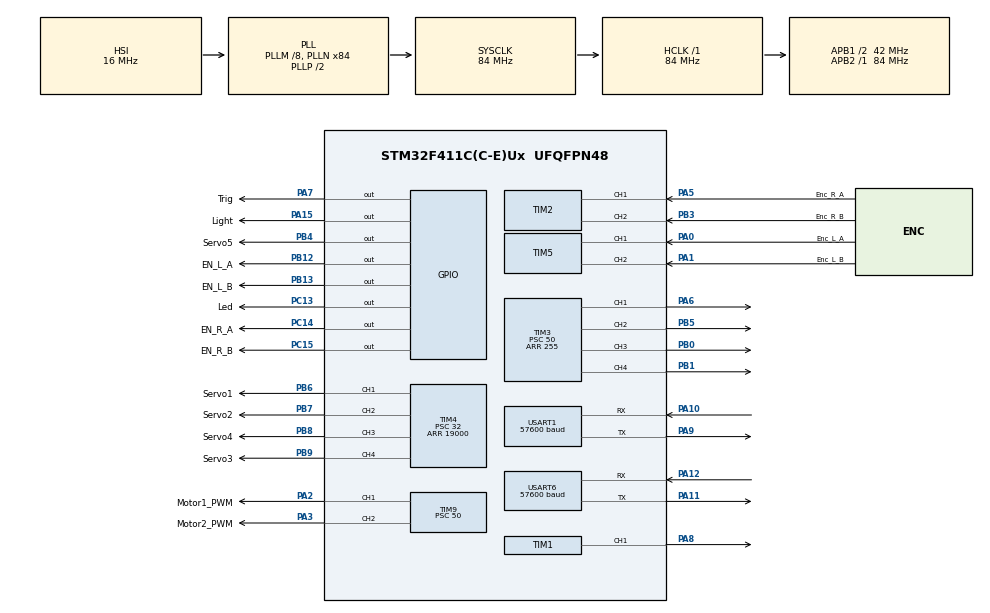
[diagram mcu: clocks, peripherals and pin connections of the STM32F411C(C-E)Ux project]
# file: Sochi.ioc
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Dma.Request0=USART1_RX
Dma.Request1=USART1_TX
Dma.Request2=USART6_TX
Dma.Request3=USART6_RX
Dma.USART1_RX.0.Direction=DMA_PERIPH_TO_MEMORY
Dma.USART1_RX.0.FIFOMode=DMA_FIFOMODE_DISABLE
Dma.USART1_RX.0.Instance=DMA2_Stream2
Dma.USART1_RX.0.MemDataAlignment=DMA_MDATAALIGN_BYTE
Dma.USART1_RX.0.MemInc=DMA_MINC_ENABLE
Dma.USART1_RX.0.Mode=DMA_NORMAL
Dma.USART1_RX.0.PeriphDataAlignment=DMA_PDATAALIGN_BYTE
Dma.USART1_RX.0.PeriphInc=DMA_PINC_DISABLE
Dma.USART1_RX.0.Priority=DMA_PRIORITY_LOW
Dma.USART1_TX.1.Direction=DMA_MEMORY_TO_PERIPH
Dma.USART1_TX.1.FIFOMode=DMA_FIFOMODE_DISABLE
Dma.USART1_TX.1.Instance=DMA2_Stream7
Dma.USART1_TX.1.MemDataAlignment=DMA_MDATAALIGN_BYTE
Dma.USART1_TX.1.MemInc=DMA_MINC_ENABLE
Dma.USART1_TX.1.Mode=DMA_NORMAL
Dma.USART1_TX.1.PeriphDataAlignment=DMA_PDATAALIGN_BYTE
Dma.USART1_TX.1.PeriphInc=DMA_PINC_DISABLE
Dma.USART1_TX.1.Priority=DMA_PRIORITY_LOW
Dma.USART6_RX.3.Direction=DMA_PERIPH_TO_MEMORY
Dma.USART6_RX.3.FIFOMode=DMA_FIFOMODE_DISABLE
Dma.USART6_RX.3.Instance=DMA2_Stream1
Dma.USART6_RX.3.MemDataAlignment=DMA_MDATAALIGN_BYTE
Dma.USART6_RX.3.MemInc=DMA_MINC_ENABLE
Dma.USART6_RX.3.Mode=DMA_NORMAL
Dma.USART6_RX.3.PeriphDataAlignment=DMA_PDATAALIGN_BYTE
Dma.USART6_RX.3.PeriphInc=DMA_PINC_DISABLE
Dma.USART6_RX.3.Priority=DMA_PRIORITY_LOW
Dma.USART6_TX.2.Direction=DMA_MEMORY_TO_PERIPH
Dma.USART6_TX.2.FIFOMode=DMA_FIFOMODE_DISABLE
Dma.USART6_TX.2.Instance=DMA2_Stream6
Dma.USART6_TX.2.MemDataAlignment=DMA_MDATAALIGN_BYTE
Dma.USART6_TX.2.MemInc=DMA_MINC_ENABLE
Dma.USART6_TX.2.Mode=DMA_NORMAL
Dma.USART6_TX.2.PeriphDataAlignment=DMA_PDATAALIGN_BYTE
Dma.USART6_TX.2.PeriphInc=DMA_PINC_DISABLE
Dma.USART6_TX.2.Priority=DMA_PRIORITY_LOW
Mcu.Family=STM32F4
Mcu.Name=STM32F411C(C-E)Ux
Mcu.Package=UFQFPN48
NVIC.DMA2_Stream1_IRQn=true\:0\:0\:false\:false\:true\:false\:true\:true
NVIC.DMA2_Stream2_IRQn=true\:0\:0\:false\:false\:true\:false\:true\:true
NVIC.DMA2_Stream6_IRQn=true\:0\:0\:false\:false\:true\:false\:true\:true
NVIC.DMA2_Stream7_IRQn=true\:0\:0\:false\:false\:true\:false\:true\:true
NVIC.PriorityGroup=NVIC_PRIORITYGROUP_4
NVIC.TIM1_TRG_COM_TIM11_IRQn=true\:0\:0\:false\:false\:true\:true\:true\:true
NVIC.TIM1_UP_TIM10_IRQn=true\:0\:0\:false\:false\:true\:true\:true\:true
NVIC.TIM2_IRQn=true\:0\:0\:false\:true\:true\:1\:true\:true\:true
NVIC.TIM5_IRQn=true\:0\:0\:false\:false\:true\:true\:true\:true
NVIC.USART1_IRQn=true\:0\:0\:false\:false\:true\:true\:true\:true
NVIC.USART6_IRQn=true\:0\:0\:false\:false\:true\:true\:true\:true
PA0-WKUP.GPIO_Label=Enc_L_A
PA0-WKUP.Signal=S_TIM5_CH1
PA1.GPIO_Label=Enc_L_B
PA1.Signal=S_TIM5_CH2
PA10.Mode=Asynchronous
PA10.Signal=USART1_RX
PA11.Mode=Asynchronous
PA11.Signal=USART6_TX
PA12.Mode=Asynchronous
PA12.Signal=USART6_RX
PA13.Mode=Serial_Wire
PA13.Signal=SYS_JTMS-SWDIO
PA14.Mode=Serial_Wire
PA14.Signal=SYS_JTCK-SWCLK
PA15.GPIO_Label=Light
PA15.Signal=GPIO_Output
PA2.GPIO_Label=Motor1_PWM
PA2.Signal=S_TIM9_CH1
PA3.GPIO_Label=Motor2_PWM
PA3.Signal=S_TIM9_CH2
PA5.GPIO_Label=Enc_R_A
PA5.GPIO_PuPd=GPIO_PULLUP
PA5.GPIO_Speed=GPIO_SPEED_FREQ_VERY_HIGH
PA5.Signal=S_TIM2_CH1_ETR
PA6.Signal=S_TIM3_CH1
PA7.GPIO_Label=Trig
PA7.Signal=GPIO_Output
PA8.Signal=S_TIM1_CH1
PA9.Mode=Asynchronous
PA9.Signal=USART1_TX
PB0.Signal=S_TIM3_CH3
PB1.Signal=S_TIM3_CH4
PB12.GPIO_Label=EN_L_A
PB12.Signal=GPIO_Output
PB13.GPIO_Label=EN_L_B
PB13.Signal=GPIO_Output
PB3.GPIO_Label=Enc_R_B
PB3.GPIO_PuPd=GPIO_PULLUP
PB3.GPIO_Speed=GPIO_SPEED_FREQ_VERY_HIGH
PB3.Signal=S_TIM2_CH2
PB4.GPIO_Label=Servo5
PB4.Signal=GPIO_Output
PB5.Signal=S_TIM3_CH2
PB6.GPIO_Label=Servo1
PB6.GPIO_ModeDefaultPP=GPIO_MODE_AF_OD
PB6.GPIO_PuPd=GPIO_NOPULL
PB6.GPIO_Speed=GPIO_SPEED_FREQ_VERY_HIGH
PB6.Signal=S_TIM4_CH1
PB7.GPIO_Label=Servo2
PB7.GPIO_ModeDefaultPP=GPIO_MODE_AF_OD
PB7.GPIO_PuPd=GPIO_NOPULL
PB7.GPIO_Speed=GPIO_SPEED_FREQ_VERY_HIGH
PB7.Signal=S_TIM4_CH2
PB8.GPIO_Label=Servo4
PB8.GPIO_ModeDefaultPP=GPIO_MODE_AF_OD
PB8.GPIO_PuPd=GPIO_NOPULL
PB8.GPIO_Speed=GPIO_SPEED_FREQ_VERY_HIGH
PB8.Signal=S_TIM4_CH3
PB9.GPIO_Label=Servo3
PB9.GPIO_ModeDefaultPP=GPIO_MODE_AF_OD
PB9.GPIO_PuPd=GPIO_NOPULL
PB9.GPIO_Speed=GPIO_SPEED_FREQ_VERY_HIGH
PB9.Signal=S_TIM4_CH4
PC13-ANTI_TAMP.GPIO_Label=Led
PC13-ANTI_TAMP.Signal=GPIO_Output
PC14-OSC32_IN.GPIO_Label=EN_R_A
PC14-OSC32_IN.Signal=GPIO_Output
PC15-OSC32_OUT.GPIO_Label=EN_R_B
PC15-OSC32_OUT.Signal=GPIO_Output
ProjectManager.HeapSize=0x200
ProjectManager.StackSize=0x400
ProjectManager.TargetToolchain=MDK-ARM V5.32
RCC.48MHZClocksFreq_Value=42000000
RCC.AHBFreq_Value=84000000
RCC.APB1CLKDivider=RCC_HCLK_DIV2
RCC.APB1Freq_Value=42000000
RCC.APB1TimFreq_Value=84000000
RCC.APB2Freq_Value=84000000
RCC.APB2TimFreq_Value=84000000
RCC.CortexFreq_Value=84000000
RCC.HCLKFreq_Value=84000000
RCC.HSE_VALUE=25000000
RCC.HSI_VALUE=16000000
RCC.LSE_VALUE=32768
RCC.PLLM=8
RCC.PLLN=84
RCC.SYSCLKFreq_VALUE=84000000
RCC.SYSCLKSource=RCC_SYSCLKSOURCE_PLLCLK
RCC.VCOOutputFreq_Value=168000000
SH.S_TIM1_CH1.0=TIM1_CH1,PWM Generation1 CH1
SH.S_TIM2_CH1_ETR.0=TIM2_CH1,Encoder_Interface
SH.S_TIM2_CH2.0=TIM2_CH2,Encoder_Interface
SH.S_TIM3_CH1.0=TIM3_CH1,PWM Generation1 CH1
SH.S_TIM3_CH2.0=TIM3_CH2,PWM Generation2 CH2
SH.S_TIM3_CH3.0=TIM3_CH3,PWM Generation3 CH3
SH.S_TIM3_CH4.0=TIM3_CH4,PWM Generation4 CH4
SH.S_TIM4_CH1.0=TIM4_CH1,PWM Generation1 CH1
SH.S_TIM4_CH2.0=TIM4_CH2,PWM Generation2 CH2
SH.S_TIM4_CH3.0=TIM4_CH3,PWM Generation3 CH3
SH.S_TIM4_CH4.0=TIM4_CH4,PWM Generation4 CH4
SH.S_TIM5_CH1.0=TIM5_CH1,Encoder_Interface
SH.S_TIM5_CH2.0=TIM5_CH2,Encoder_Interface
SH.S_TIM9_CH1.0=TIM9_CH1,PWM Generation1 CH1
SH.S_TIM9_CH2.0=TIM9_CH2,PWM Generation2 CH2
TIM1.Channel-PWM\ Generation1\ CH1=TIM_CHANNEL_1
TIM1.Period=639
TIM1.Prescaler=2
TIM10.Channel=TIM_CHANNEL_1
TIM10.Period=20000
TIM10.Prescaler=320
TIM11.Channel=TIM_CHANNEL_1
TIM11.Period=19000
TIM11.Prescaler=32
TIM2.EncoderMode=TIM_ENCODERMODE_TI2
TIM2.IC1Filter=0
TIM2.IC2Filter=0
TIM3.Channel-PWM\ Generation1\ CH1=TIM_CHANNEL_1
TIM3.Channel-PWM\ Generation2\ CH2=TIM_CHANNEL_2
TIM3.Channel-PWM\ Generation3\ CH3=TIM_CHANNEL_3
TIM3.Channel-PWM\ Generation4\ CH4=TIM_CHANNEL_4
TIM3.Period=255
TIM3.Prescaler=50
TIM4.Channel-PWM\ Generation1\ CH1=TIM_CHANNEL_1
TIM4.Channel-PWM\ Generation2\ CH2=TIM_CHANNEL_2
TIM4.Channel-PWM\ Generation3\ CH3=TIM_CHANNEL_3
TIM4.Channel-PWM\ Generation4\ CH4=TIM_CHANNEL_4
TIM4.Period=19000
TIM4.Prescaler=32
TIM5.EncoderMode=TIM_ENCODERMODE_TI2
TIM9.Channel-PWM\ Generation1\ CH1=TIM_CHANNEL_1
TIM9.Channel-PWM\ Generation2\ CH2=TIM_CHANNEL_2
TIM9.Period=1000
TIM9.Prescaler=50
USART1.BaudRate=57600
USART1.VirtualMode=VM_ASYNC
USART6.BaudRate=57600
USART6.VirtualMode=VM_ASYNC
VP_TIM10_VS_ClockSourceINT.Mode=Enable_Timer
VP_TIM10_VS_no_output1.Mode=Output Compare1 No Output
VP_TIM11_VS_ClockSourceINT.Mode=Enable_Timer
VP_TIM11_VS_no_output1.Mode=Output Compare1 No Output
board=custom

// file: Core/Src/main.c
/* USER CODE BEGIN Header */
/**
  ******************************************************************************
  * @file           : main.c
  * @brief          : Main program body
  ******************************************************************************
  * @attention
  *
  * Copyright (c) 2023 STMicroelectronics.
  * All rights reserved.
  *
  * This software is licensed under terms that can be found in the LICENSE file
  * in the root directory of this software component.
  * If no LICENSE file comes with this software, it is provided AS-IS.
  *
  ******************************************************************************
  */
/* USER CODE END Header */
#include "main.h"

/* USER CODE BEGIN Includes */
#include "Func.h"
#include "Defines.h"
#include "Encoder.h"

#ifdef PidVel
	#include "PidVel.h"
#endif

#ifdef PidPos
	#include "PidPos.h"
#endif
/* USER CODE END Includes */

TIM_HandleTypeDef htim1;
TIM_HandleTypeDef htim2;
TIM_HandleTypeDef htim3;
TIM_HandleTypeDef htim4;
TIM_HandleTypeDef htim5;
TIM_HandleTypeDef htim9;
TIM_HandleTypeDef htim10;
TIM_HandleTypeDef htim11;

UART_HandleTypeDef huart1;
UART_HandleTypeDef huart6;
DMA_HandleTypeDef hdma_usart1_rx;
DMA_HandleTypeDef hdma_usart1_tx;
DMA_HandleTypeDef hdma_usart6_tx;
DMA_HandleTypeDef hdma_usart6_rx;

/* USER CODE BEGIN PV */

uint8_t RxBuf [32];
uint8_t TxBuf[700];
uint8_t flag;
uint8_t CountIn;
int32_t CountR;
int32_t CountL;

float DistLeftM;
float DistRightM;

float SpeedLeftMS;
float SpeedRightMS;

float TargetSpeedLeftMS;
float TargetSpeedRightMS;

float TargetSpeedMS;//speed of centre of mass
float TargetAngSpeedRad;//angular speed

uint32_t Time1;
uint32_t Time2;

int32_t SpeedTickR;
int32_t SpeedTickL;

float length1;
float length2;
uint16_t SmaBufT1[SmaN];
uint16_t SmaBufT2[SmaN];
uint8_t CountPosL1;
uint8_t CountPosL2;

/* PID Velocity Parameters */
float Kp;
float Kd;
float Ki;
float Ko;
#ifdef PidVelArduino
uint8_t moving;

SetPointInfo leftPID, rightPID;
#endif
uint8_t CountSpace;

uint16_t ServoDeg[5];

uint32_t Servo5AngleRaw;

#ifdef SettingMan
	uint32_t CountTest;
#endif

/* USER CODE END PV */

void SystemClock_Config(void);
static void MX_GPIO_Init(void);
static void MX_DMA_Init(void);
static void MX_TIM2_Init(void);
static void MX_TIM4_Init(void);
static void MX_TIM5_Init(void);
static void MX_TIM9_Init(void);
static void MX_USART1_UART_Init(void);
static void MX_TIM3_Init(void);
static void MX_TIM10_Init(void);
static void MX_TIM11_Init(void);
static void MX_USART6_UART_Init(void);
static void MX_TIM1_Init(void);
static void MX_NVIC_Init(void);

int main(void)
{

  /* MCU Configuration--------------------------------------------------------*/

  /* Reset of all peripherals, Initializes the Flash interface and the Systick. */
  HAL_Init();

  /* Configure the system clock */
  SystemClock_Config();

  /* Initialize all configured peripherals */
  MX_GPIO_Init();
  MX_DMA_Init();
  MX_TIM2_Init();
  MX_TIM4_Init();
  MX_TIM5_Init();
  MX_TIM9_Init();
  MX_USART1_UART_Init();
  MX_TIM3_Init();
  MX_TIM10_Init();
  MX_TIM11_Init();
  MX_USART6_UART_Init();
  MX_TIM1_Init();

  /* Initialize interrupts */
  MX_NVIC_Init();
  /* USER CODE BEGIN 2 */
	//Start motor1
	StartState();

	#ifdef present
	uint32_t Color;
	#endif
  /* USER CODE END 2 */

  /* Infinite loop */
  /* USER CODE BEGIN WHILE */
  while (1)
  {
		if((flag&(1<<RecieveOk))!=0)
		{
			Update();
			//UpdateMx();
			flag&=~(1<<RecieveOk);
		}
		if ((flag&(1<<TimeOk))!=0)
		{
			//ServoWrite3((uint16_t)length2);
/*			uint16_t S=OutPlot(length1, length2, CountR, TxBuf);
			HAL_UART_Transmit(&h  uart1,TxBuf,S,1000);
			flag&=~(1<<TimeOk);*/
		}
		if((flag&(1<<StartCulcSpeed))!=0)
		{
			SpeedCulcTick();
		/*	uint16_t S=OutPlot(SpeedLeftMS, SpeedRightMS, TxBuf);
			HAL_UART_Transmit_DMA(&huart6,TxBuf,S);*/
			flag&=~(1<<StartCulcSpeed);
		}

#ifdef PidVel
		if((flag&(1<<StartPidUpdate)))
		{
			setMotorSpeeds(UpdatePIDRight(TargetSpeedRightMS, SpeedRightMS),UpdatePIDLeft(TargetSpeedLeftMS, SpeedLeftMS));
			flag&=~(1<<StartPidUpdate);
		}
#endif

	#ifdef present
		if((flag&(1<<SwitchesColor))!=0)
		{
			/*Color=Color<<8;
			ColorOut(Color);
			if(Color==0)
			{
				Color=0xFF;
			}
			flag&=~(1<<SwitchesColor);*/
		}

	#endif
		if((flag&(1<<FinishMovServo5)))
		{
			TargetSpeedRightMS=0;
			TargetSpeedLeftMS=0;
			flag&=~(1<<FinishMovServo5);
		}

    /* USER CODE END WHILE */

  }
}

void SystemClock_Config(void)
{
  RCC_OscInitTypeDef RCC_OscInitStruct = {0};
  RCC_ClkInitTypeDef RCC_ClkInitStruct = {0};

  /** Configure the main internal regulator output voltage
  */
  __HAL_RCC_PWR_CLK_ENABLE();
  __HAL_PWR_VOLTAGESCALING_CONFIG(PWR_REGULATOR_VOLTAGE_SCALE1);

  /** Initializes the RCC Oscillators according to the specified parameters
  * in the RCC_OscInitTypeDef structure.
  */
  RCC_OscInitStruct.OscillatorType = RCC_OSCILLATORTYPE_HSI;
  RCC_OscInitStruct.HSIState = RCC_HSI_ON;
  RCC_OscInitStruct.HSICalibrationValue = RCC_HSICALIBRATION_DEFAULT;
  RCC_OscInitStruct.PLL.PLLState = RCC_PLL_ON;
  RCC_OscInitStruct.PLL.PLLSource = RCC_PLLSOURCE_HSI;
  RCC_OscInitStruct.PLL.PLLM = 8;
  RCC_OscInitStruct.PLL.PLLN = 84;
  RCC_OscInitStruct.PLL.PLLP = RCC_PLLP_DIV2;
  RCC_OscInitStruct.PLL.PLLQ = 4;
  if (HAL_RCC_OscConfig(&RCC_OscInitStruct) != HAL_OK)
  {
    Error_Handler();
  }

  /** Initializes the CPU, AHB and APB buses clocks
  */
  RCC_ClkInitStruct.ClockType = RCC_CLOCKTYPE_HCLK|RCC_CLOCKTYPE_SYSCLK
                              |RCC_CLOCKTYPE_PCLK1|RCC_CLOCKTYPE_PCLK2;
  RCC_ClkInitStruct.SYSCLKSource = RCC_SYSCLKSOURCE_PLLCLK;
  RCC_ClkInitStruct.AHBCLKDivider = RCC_SYSCLK_DIV1;
  RCC_ClkInitStruct.APB1CLKDivider = RCC_HCLK_DIV2;
  RCC_ClkInitStruct.APB2CLKDivider = RCC_HCLK_DIV1;

  if (HAL_RCC_ClockConfig(&RCC_ClkInitStruct, FLASH_LATENCY_2) != HAL_OK)
  {
    Error_Handler();
  }
}

/**
  * @brief NVIC Configuration.
  * @retval None
  */
static void MX_NVIC_Init(void)
{
  /* TIM2_IRQn interrupt configuration */
  HAL_NVIC_SetPriority(TIM2_IRQn, 0, 0);
  HAL_NVIC_EnableIRQ(TIM2_IRQn);
}

static void MX_TIM1_Init(void)
{

  TIM_MasterConfigTypeDef sMasterConfig = {0};
  TIM_OC_InitTypeDef sConfigOC = {0};
  TIM_BreakDeadTimeConfigTypeDef sBreakDeadTimeConfig = {0};

  htim1.Instance = TIM1;
  htim1.Init.Prescaler = 2;
  htim1.Init.CounterMode = TIM_COUNTERMODE_UP;
  htim1.Init.Period = 639;
  htim1.Init.ClockDivision = TIM_CLOCKDIVISION_DIV1;
  htim1.Init.RepetitionCounter = 0;
  htim1.Init.AutoReloadPreload = TIM_AUTORELOAD_PRELOAD_DISABLE;
  if (HAL_TIM_PWM_Init(&htim1) != HAL_OK)
  {
    Error_Handler();
  }
  sMasterConfig.MasterOutputTrigger = TIM_TRGO_RESET;
  sMasterConfig.MasterSlaveMode = TIM_MASTERSLAVEMODE_DISABLE;
  if (HAL_TIMEx_MasterConfigSynchronization(&htim1, &sMasterConfig) != HAL_OK)
  {
    Error_Handler();
  }
  sConfigOC.OCMode = TIM_OCMODE_PWM1;
  sConfigOC.Pulse = 0;
  sConfigOC.OCPolarity = TIM_OCPOLARITY_HIGH;
  sConfigOC.OCNPolarity = TIM_OCNPOLARITY_HIGH;
  sConfigOC.OCFastMode = TIM_OCFAST_DISABLE;
  sConfigOC.OCIdleState = TIM_OCIDLESTATE_RESET;
  sConfigOC.OCNIdleState = TIM_OCNIDLESTATE_RESET;
  if (HAL_TIM_PWM_ConfigChannel(&htim1, &sConfigOC, TIM_CHANNEL_1) != HAL_OK)
  {
    Error_Handler();
  }
  sBreakDeadTimeConfig.OffStateRunMode = TIM_OSSR_DISABLE;
  sBreakDeadTimeConfig.OffStateIDLEMode = TIM_OSSI_DISABLE;
  sBreakDeadTimeConfig.LockLevel = TIM_LOCKLEVEL_OFF;
  sBreakDeadTimeConfig.DeadTime = 0;
  sBreakDeadTimeConfig.BreakState = TIM_BREAK_DISABLE;
  sBreakDeadTimeConfig.BreakPolarity = TIM_BREAKPOLARITY_HIGH;
  sBreakDeadTimeConfig.AutomaticOutput = TIM_AUTOMATICOUTPUT_DISABLE;
  if (HAL_TIMEx_ConfigBreakDeadTime(&htim1, &sBreakDeadTimeConfig) != HAL_OK)
  {
    Error_Handler();
  }
  HAL_TIM_MspPostInit(&htim1);

}

static void MX_TIM2_Init(void)
{

  TIM_Encoder_InitTypeDef sConfig = {0};
  TIM_MasterConfigTypeDef sMasterConfig = {0};

  htim2.Instance = TIM2;
  htim2.Init.Prescaler = 0;
  htim2.Init.CounterMode = TIM_COUNTERMODE_UP;
  htim2.Init.Period = 4294967295;
  htim2.Init.ClockDivision = TIM_CLOCKDIVISION_DIV1;
  htim2.Init.AutoReloadPreload = TIM_AUTORELOAD_PRELOAD_DISABLE;
  sConfig.EncoderMode = TIM_ENCODERMODE_TI2;
  sConfig.IC1Polarity = TIM_ICPOLARITY_RISING;
  sConfig.IC1Selection = TIM_ICSELECTION_DIRECTTI;
  sConfig.IC1Prescaler = TIM_ICPSC_DIV1;
  sConfig.IC1Filter = 0;
  sConfig.IC2Polarity = TIM_ICPOLARITY_RISING;
  sConfig.IC2Selection = TIM_ICSELECTION_DIRECTTI;
  sConfig.IC2Prescaler = TIM_ICPSC_DIV1;
  sConfig.IC2Filter = 0;
  if (HAL_TIM_Encoder_Init(&htim2, &sConfig) != HAL_OK)
  {
    Error_Handler();
  }
  sMasterConfig.MasterOutputTrigger = TIM_TRGO_RESET;
  sMasterConfig.MasterSlaveMode = TIM_MASTERSLAVEMODE_DISABLE;
  if (HAL_TIMEx_MasterConfigSynchronization(&htim2, &sMasterConfig) != HAL_OK)
  {
    Error_Handler();
  }
  /* USER CODE BEGIN TIM2_Init 2 */
	TIM2->DIER|=1<<TIM_DIER_CC1IE;
  /* USER CODE END TIM2_Init 2 */

}

static void MX_TIM3_Init(void)
{

  TIM_MasterConfigTypeDef sMasterConfig = {0};
  TIM_OC_InitTypeDef sConfigOC = {0};

  htim3.Instance = TIM3;
  htim3.Init.Prescaler = 50;
  htim3.Init.CounterMode = TIM_COUNTERMODE_UP;
  htim3.Init.Period = 255;
  htim3.Init.ClockDivision = TIM_CLOCKDIVISION_DIV1;
  htim3.Init.AutoReloadPreload = TIM_AUTORELOAD_PRELOAD_DISABLE;
  if (HAL_TIM_PWM_Init(&htim3) != HAL_OK)
  {
    Error_Handler();
  }
  sMasterConfig.MasterOutputTrigger = TIM_TRGO_RESET;
  sMasterConfig.MasterSlaveMode = TIM_MASTERSLAVEMODE_DISABLE;
  if (HAL_TIMEx_MasterConfigSynchronization(&htim3, &sMasterConfig) != HAL_OK)
  {
    Error_Handler();
  }
  sConfigOC.OCMode = TIM_OCMODE_PWM1;
  sConfigOC.Pulse = 0;
  sConfigOC.OCPolarity = TIM_OCPOLARITY_HIGH;
  sConfigOC.OCFastMode = TIM_OCFAST_DISABLE;
  if (HAL_TIM_PWM_ConfigChannel(&htim3, &sConfigOC, TIM_CHANNEL_1) != HAL_OK)
  {
    Error_Handler();
  }
  if (HAL_TIM_PWM_ConfigChannel(&htim3, &sConfigOC, TIM_CHANNEL_2) != HAL_OK)
  {
    Error_Handler();
  }
  if (HAL_TIM_PWM_ConfigChannel(&htim3, &sConfigOC, TIM_CHANNEL_3) != HAL_OK)
  {
    Error_Handler();
  }
  if (HAL_TIM_PWM_ConfigChannel(&htim3, &sConfigOC, TIM_CHANNEL_4) != HAL_OK)
  {
    Error_Handler();
  }
  HAL_TIM_MspPostInit(&htim3);

}

static void MX_TIM4_Init(void)
{

  TIM_MasterConfigTypeDef sMasterConfig = {0};
  TIM_OC_InitTypeDef sConfigOC = {0};

  htim4.Instance = TIM4;
  htim4.Init.Prescaler = 32;
  htim4.Init.CounterMode = TIM_COUNTERMODE_UP;
  htim4.Init.Period = 19000;
  htim4.Init.ClockDivision = TIM_CLOCKDIVISION_DIV1;
  htim4.Init.AutoReloadPreload = TIM_AUTORELOAD_PRELOAD_DISABLE;
  if (HAL_TIM_PWM_Init(&htim4) != HAL_OK)
  {
    Error_Handler();
  }
  sMasterConfig.MasterOutputTrigger = TIM_TRGO_RESET;
  sMasterConfig.MasterSlaveMode = TIM_MASTERSLAVEMODE_DISABLE;
  if (HAL_TIMEx_MasterConfigSynchronization(&htim4, &sMasterConfig) != HAL_OK)
  {
    Error_Handler();
  }
  sConfigOC.OCMode = TIM_OCMODE_PWM1;
  sConfigOC.Pulse = 0;
  sConfigOC.OCPolarity = TIM_OCPOLARITY_HIGH;
  sConfigOC.OCFastMode = TIM_OCFAST_DISABLE;
  if (HAL_TIM_PWM_ConfigChannel(&htim4, &sConfigOC, TIM_CHANNEL_1) != HAL_OK)
  {
    Error_Handler();
  }
  if (HAL_TIM_PWM_ConfigChannel(&htim4, &sConfigOC, TIM_CHANNEL_2) != HAL_OK)
  {
    Error_Handler();
  }
  if (HAL_TIM_PWM_ConfigChannel(&htim4, &sConfigOC, TIM_CHANNEL_3) != HAL_OK)
  {
    Error_Handler();
  }
  if (HAL_TIM_PWM_ConfigChannel(&htim4, &sConfigOC, TIM_CHANNEL_4) != HAL_OK)
  {
    Error_Handler();
  }
  HAL_TIM_MspPostInit(&htim4);

}

static void MX_TIM5_Init(void)
{

  TIM_Encoder_InitTypeDef sConfig = {0};
  TIM_MasterConfigTypeDef sMasterConfig = {0};

  htim5.Instance = TIM5;
  htim5.Init.Prescaler = 0;
  htim5.Init.CounterMode = TIM_COUNTERMODE_UP;
  htim5.Init.Period = 4294967295;
  htim5.Init.ClockDivision = TIM_CLOCKDIVISION_DIV1;
  htim5.Init.AutoReloadPreload = TIM_AUTORELOAD_PRELOAD_DISABLE;
  sConfig.EncoderMode = TIM_ENCODERMODE_TI2;
  sConfig.IC1Polarity = TIM_ICPOLARITY_RISING;
  sConfig.IC1Selection = TIM_ICSELECTION_DIRECTTI;
  sConfig.IC1Prescaler = TIM_ICPSC_DIV1;
  sConfig.IC1Filter = 0;
  sConfig.IC2Polarity = TIM_ICPOLARITY_RISING;
  sConfig.IC2Selection = TIM_ICSELECTION_DIRECTTI;
  sConfig.IC2Prescaler = TIM_ICPSC_DIV1;
  sConfig.IC2Filter = 0;
  if (HAL_TIM_Encoder_Init(&htim5, &sConfig) != HAL_OK)
  {
    Error_Handler();
  }
  sMasterConfig.MasterOutputTrigger = TIM_TRGO_RESET;
  sMasterConfig.MasterSlaveMode = TIM_MASTERSLAVEMODE_DISABLE;
  if (HAL_TIMEx_MasterConfigSynchronization(&htim5, &sMasterConfig) != HAL_OK)
  {
    Error_Handler();
  }

}

static void MX_TIM9_Init(void)
{

  TIM_OC_InitTypeDef sConfigOC = {0};

  htim9.Instance = TIM9;
  htim9.Init.Prescaler = 50;
  htim9.Init.CounterMode = TIM_COUNTERMODE_UP;
  htim9.Init.Period = 1000;
  htim9.Init.ClockDivision = TIM_CLOCKDIVISION_DIV1;
  htim9.Init.AutoReloadPreload = TIM_AUTORELOAD_PRELOAD_DISABLE;
  if (HAL_TIM_PWM_Init(&htim9) != HAL_OK)
  {
    Error_Handler();
  }
  sConfigOC.OCMode = TIM_OCMODE_PWM1;
  sConfigOC.Pulse = 0;
  sConfigOC.OCPolarity = TIM_OCPOLARITY_HIGH;
  sConfigOC.OCFastMode = TIM_OCFAST_DISABLE;
  if (HAL_TIM_PWM_ConfigChannel(&htim9, &sConfigOC, TIM_CHANNEL_1) != HAL_OK)
  {
    Error_Handler();
  }
  if (HAL_TIM_PWM_ConfigChannel(&htim9, &sConfigOC, TIM_CHANNEL_2) != HAL_OK)
  {
    Error_Handler();
  }
  HAL_TIM_MspPostInit(&htim9);

}

static void MX_TIM10_Init(void)
{

  TIM_OC_InitTypeDef sConfigOC = {0};

  htim10.Instance = TIM10;
  htim10.Init.Prescaler = 320;
  htim10.Init.CounterMode = TIM_COUNTERMODE_UP;
  htim10.Init.Period = 20000;
  htim10.Init.ClockDivision = TIM_CLOCKDIVISION_DIV1;
  htim10.Init.AutoReloadPreload = TIM_AUTORELOAD_PRELOAD_DISABLE;
  if (HAL_TIM_Base_Init(&htim10) != HAL_OK)
  {
    Error_Handler();
  }
  if (HAL_TIM_OC_Init(&htim10) != HAL_OK)
  {
    Error_Handler();
  }
  sConfigOC.OCMode = TIM_OCMODE_TIMING;
  sConfigOC.Pulse = 0;
  sConfigOC.OCPolarity = TIM_OCPOLARITY_HIGH;
  sConfigOC.OCFastMode = TIM_OCFAST_DISABLE;
  if (HAL_TIM_OC_ConfigChannel(&htim10, &sConfigOC, TIM_CHANNEL_1) != HAL_OK)
  {
    Error_Handler();
  }

}

static void MX_TIM11_Init(void)
{

  TIM_OC_InitTypeDef sConfigOC = {0};

  htim11.Instance = TIM11;
  htim11.Init.Prescaler = 32;
  htim11.Init.CounterMode = TIM_COUNTERMODE_UP;
  htim11.Init.Period = 19000;
  htim11.Init.ClockDivision = TIM_CLOCKDIVISION_DIV1;
  htim11.Init.AutoReloadPreload = TIM_AUTORELOAD_PRELOAD_DISABLE;
  if (HAL_TIM_Base_Init(&htim11) != HAL_OK)
  {
    Error_Handler();
  }
  if (HAL_TIM_OC_Init(&htim11) != HAL_OK)
  {
    Error_Handler();
  }
  sConfigOC.OCMode = TIM_OCMODE_TIMING;
  sConfigOC.Pulse = 0;
  sConfigOC.OCPolarity = TIM_OCPOLARITY_HIGH;
  sConfigOC.OCFastMode = TIM_OCFAST_DISABLE;
  if (HAL_TIM_OC_ConfigChannel(&htim11, &sConfigOC, TIM_CHANNEL_1) != HAL_OK)
  {
    Error_Handler();
  }

}

static void MX_USART1_UART_Init(void)
{

  huart1.Instance = USART1;
  huart1.Init.BaudRate = 57600;
  huart1.Init.WordLength = UART_WORDLENGTH_8B;
  huart1.Init.StopBits = UART_STOPBITS_1;
  huart1.Init.Parity = UART_PARITY_NONE;
  huart1.Init.Mode = UART_MODE_TX_RX;
  huart1.Init.HwFlowCtl = UART_HWCONTROL_NONE;
  huart1.Init.OverSampling = UART_OVERSAMPLING_16;
  if (HAL_UART_Init(&huart1) != HAL_OK)
  {
    Error_Handler();
  }
  /* USER CODE BEGIN USART1_Init 2 */
	NVIC_EnableIRQ(USART1_IRQn);
	USART1->CR1|=USART_CR1_RXNEIE|USART_CR1_RE;
  /* USER CODE END USART1_Init 2 */

}

static void MX_USART6_UART_Init(void)
{

  huart6.Instance = USART6;
  huart6.Init.BaudRate = 57600;
  huart6.Init.WordLength = UART_WORDLENGTH_8B;
  huart6.Init.StopBits = UART_STOPBITS_1;
  huart6.Init.Parity = UART_PARITY_NONE;
  huart6.Init.Mode = UART_MODE_TX_RX;
  huart6.Init.HwFlowCtl = UART_HWCONTROL_NONE;
  huart6.Init.OverSampling = UART_OVERSAMPLING_16;
  if (HAL_UART_Init(&huart6) != HAL_OK)
  {
    Error_Handler();
  }

}

static void MX_DMA_Init(void)
{

  /* DMA controller clock enable */
  __HAL_RCC_DMA2_CLK_ENABLE();

  /* DMA interrupt init */
  /* DMA2_Stream1_IRQn interrupt configuration */
  HAL_NVIC_SetPriority(DMA2_Stream1_IRQn, 0, 0);
  HAL_NVIC_EnableIRQ(DMA2_Stream1_IRQn);
  /* DMA2_Stream2_IRQn interrupt configuration */
  HAL_NVIC_SetPriority(DMA2_Stream2_IRQn, 0, 0);
  HAL_NVIC_EnableIRQ(DMA2_Stream2_IRQn);
  /* DMA2_Stream6_IRQn interrupt configuration */
  HAL_NVIC_SetPriority(DMA2_Stream6_IRQn, 0, 0);
  HAL_NVIC_EnableIRQ(DMA2_Stream6_IRQn);
  /* DMA2_Stream7_IRQn interrupt configuration */
  HAL_NVIC_SetPriority(DMA2_Stream7_IRQn, 0, 0);
  HAL_NVIC_EnableIRQ(DMA2_Stream7_IRQn);

}

static void MX_GPIO_Init(void)
{
  GPIO_InitTypeDef GPIO_InitStruct = {0};

  /* GPIO Ports Clock Enable */
  __HAL_RCC_GPIOC_CLK_ENABLE();
  __HAL_RCC_GPIOA_CLK_ENABLE();
  __HAL_RCC_GPIOB_CLK_ENABLE();

  /*Configure GPIO pin Output Level */
  HAL_GPIO_WritePin(GPIOC, Led_Pin|EN_R_A_Pin|EN_R_B_Pin, GPIO_PIN_RESET);

  /*Configure GPIO pin Output Level */
  HAL_GPIO_WritePin(GPIOA, Trig_Pin|Light_Pin, GPIO_PIN_RESET);

  /*Configure GPIO pin Output Level */
  HAL_GPIO_WritePin(GPIOB, EN_L_A_Pin|EN_L_B_Pin|Servo5_Pin, GPIO_PIN_RESET);

  /*Configure GPIO pins : Led_Pin EN_R_A_Pin EN_R_B_Pin */
  GPIO_InitStruct.Pin = Led_Pin|EN_R_A_Pin|EN_R_B_Pin;
  GPIO_InitStruct.Mode = GPIO_MODE_OUTPUT_PP;
  GPIO_InitStruct.Pull = GPIO_NOPULL;
  GPIO_InitStruct.Speed = GPIO_SPEED_FREQ_LOW;
  HAL_GPIO_Init(GPIOC, &GPIO_InitStruct);

  /*Configure GPIO pins : Trig_Pin Light_Pin */
  GPIO_InitStruct.Pin = Trig_Pin|Light_Pin;
  GPIO_InitStruct.Mode = GPIO_MODE_OUTPUT_PP;
  GPIO_InitStruct.Pull = GPIO_NOPULL;
  GPIO_InitStruct.Speed = GPIO_SPEED_FREQ_LOW;
  HAL_GPIO_Init(GPIOA, &GPIO_InitStruct);

  /*Configure GPIO pins : EN_L_A_Pin EN_L_B_Pin Servo5_Pin */
  GPIO_InitStruct.Pin = EN_L_A_Pin|EN_L_B_Pin|Servo5_Pin;
  GPIO_InitStruct.Mode = GPIO_MODE_OUTPUT_PP;
  GPIO_InitStruct.Pull = GPIO_NOPULL;
  GPIO_InitStruct.Speed = GPIO_SPEED_FREQ_LOW;
  HAL_GPIO_Init(GPIOB, &GPIO_InitStruct);

}

void Error_Handler(void)
{
  __disable_irq();
  while (1)
  {
  }
}
